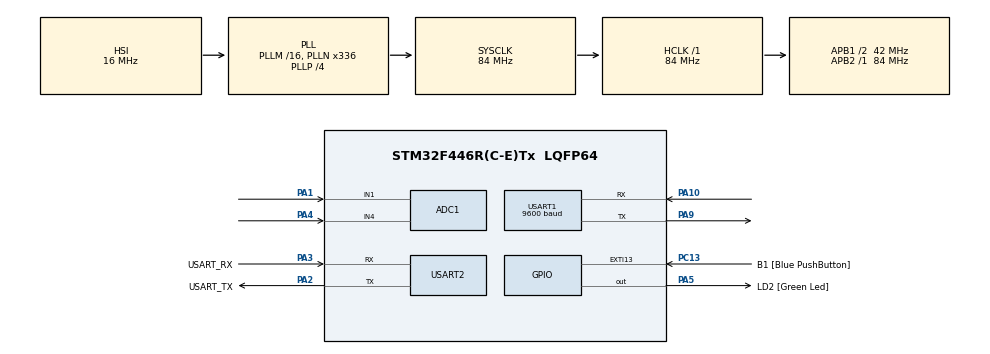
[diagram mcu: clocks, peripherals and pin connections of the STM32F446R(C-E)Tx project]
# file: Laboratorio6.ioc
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ADC1.Channel-0\#ChannelRegularConversion=ADC_CHANNEL_1
ADC1.NbrOfConversionFlag=1
ADC1.Rank-0\#ChannelRegularConversion=1
ADC1.SamplingTime-0\#ChannelRegularConversion=ADC_SAMPLETIME_3CYCLES
ADC1.master=1
Mcu.Family=STM32F4
Mcu.Name=STM32F446R(C-E)Tx
Mcu.Package=LQFP64
NVIC.PriorityGroup=NVIC_PRIORITYGROUP_0
NVIC.USART1_IRQn=true\:0\:0\:false\:false\:true\:true\:true\:true
PA1.Signal=ADCx_IN1
PA10.Mode=Asynchronous
PA10.Signal=USART1_RX
PA13.GPIO_Label=TMS
PA13.Signal=SYS_JTMS-SWDIO
PA14.GPIO_Label=TCK
PA14.Signal=SYS_JTCK-SWCLK
PA2.GPIO_Label=USART_TX
PA2.Mode=Asynchronous
PA2.Signal=USART2_TX
PA3.GPIO_Label=USART_RX
PA3.Mode=Asynchronous
PA3.Signal=USART2_RX
PA4.Signal=ADCx_IN4
PA5.GPIO_Label=LD2 [Green Led]
PA5.Signal=GPIO_Output
PA9.Mode=Asynchronous
PA9.Signal=USART1_TX
PB3.GPIO_Label=SWO
PB3.Signal=SYS_JTDO-SWO
PC13.GPIO_Label=B1 [Blue PushButton]
PC13.GPIO_ModeDefaultEXTI=GPIO_MODE_IT_FALLING
PC13.Signal=GPXTI13
PC14-OSC32_IN.Signal=RCC_OSC32_IN
PC15-OSC32_OUT.Signal=RCC_OSC32_OUT
PH0-OSC_IN.Signal=RCC_OSC_IN
PH1-OSC_OUT.Signal=RCC_OSC_OUT
ProjectManager.HeapSize=0x200
ProjectManager.StackSize=0x400
ProjectManager.TargetToolchain=STM32CubeIDE
RCC.AHBFreq_Value=84000000
RCC.APB1CLKDivider=RCC_HCLK_DIV2
RCC.APB1Freq_Value=42000000
RCC.APB1TimFreq_Value=84000000
RCC.APB2Freq_Value=84000000
RCC.APB2TimFreq_Value=84000000
RCC.CortexFreq_Value=84000000
RCC.FLatency-AdvancedSettings=FLASH_LATENCY_2
RCC.HCLKFreq_Value=84000000
RCC.HSE_VALUE=8000000
RCC.HSI_VALUE=16000000
RCC.LSE_VALUE=32768
RCC.PLLN=336
RCC.PLLP=RCC_PLLP_DIV4
RCC.SYSCLKFreq_VALUE=84000000
RCC.SYSCLKSource=RCC_SYSCLKSOURCE_PLLCLK
RCC.USBFreq_Value=168000000
RCC.VCOOutputFreq_Value=336000000
SH.ADCx_IN1.0=ADC1_IN1,IN1
SH.ADCx_IN4.0=ADC1_IN4,IN4
USART1.BaudRate=9600
USART1.VirtualMode=VM_ASYNC
USART2.VirtualMode=VM_ASYNC
board=NUCLEO-F446RE

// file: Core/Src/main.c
/* USER CODE BEGIN Header */
/**
  ******************************************************************************
  * @file           : main.c
  * @brief          : Main program body
  ******************************************************************************
  * @attention
  *
  * Copyright (c) 2026 STMicroelectronics.
  * All rights reserved.
  *
  * This software is licensed under terms that can be found in the LICENSE file
  * in the root directory of this software component.
  * If no LICENSE file comes with this software, it is provided AS-IS.
  *
  ******************************************************************************
  */
/* USER CODE END Header */
#include "main.h"
#include "adc.h"
#include "usart.h"
#include "gpio.h"

/* USER CODE BEGIN Includes */
#include <stdio.h>
#include <string.h>
/* USER CODE END Includes */

/* USER CODE BEGIN PD */
#define ADC_MITAD               2048U
#define RX_BUFFER_SIZE          32U
#define INTERVALO_JOYSTICK_MS   300U
/* USER CODE END PD */

/* USER CODE BEGIN PV */
/* Control 1: potenciómetros */
uint32_t valor_pot1 = 0;
uint32_t valor_pot2 = 0;

char mensaje_uart[80];

/* Control 2: recepción desde el ATmega328P */
volatile uint8_t rx_byte = 0;
volatile char rx_buffer[RX_BUFFER_SIZE];
volatile uint8_t rx_index = 0;
volatile uint8_t rx_linea_lista = 0;
/* USER CODE END PV */

void SystemClock_Config(void);
/* USER CODE BEGIN PFP */
static uint32_t Leer_ADC(uint32_t canal);
static void Procesar_Accion_Control2(const char *linea);
/* USER CODE END PFP */

/* USER CODE BEGIN 0 */
static uint32_t Leer_ADC(uint32_t canal)
{
    ADC_ChannelConfTypeDef configuracion = {0};
    uint32_t resultado = 0;

    configuracion.Channel = canal;
    configuracion.Rank = 1;
    configuracion.SamplingTime = ADC_SAMPLETIME_56CYCLES;

    if (HAL_ADC_ConfigChannel(
            &hadc1,
                       &configuracion
        ) != HAL_OK)
    {
        Error_Handler();
    }

    if (HAL_ADC_Start(&hadc1) != HAL_OK)
    {
        Error_Handler();
    }

    if (HAL_ADC_PollForConversion(
            &hadc1,
            50
        ) != HAL_OK)
    {
        HAL_ADC_Stop(&hadc1);
        Error_Handler();
    }

    resultado = HAL_ADC_GetValue(&hadc1);

    HAL_ADC_Stop(&hadc1);

    return resultado;
}
static void Procesar_Accion_Control2(const char *linea)
{
    const char *accion = NULL;
    char mensaje_control2[50];

    if (linea == NULL || linea[0] == '\0')
    {
        return;
    }

    switch (linea[0])
    {
        case 'U':
        case 'u':
            accion = "Arriba";
            break;

        case 'D':
        case 'd':
            accion = "Abajo";
            break;

        case 'R':
        case 'r':
            accion = "Derecha";
            break;

        case 'L':
        case 'l':
            accion = "Izquierda";
            break;

        case 'A':
        case 'a':
            accion = "Accion A";
            break;

        case 'B':
        case 'b':
            accion = "Accion B";
            break;

        default:
            accion = NULL;
            break;
    }

    if (accion != NULL)
    {
        int longitud = snprintf(
            mensaje_control2,
            sizeof(mensaje_control2),
            "Control 2 (ATmega): %s\r\n",
            accion
        );

        if (longitud > 0)
        {
            HAL_UART_Transmit(
                &huart2,
                (uint8_t *)mensaje_control2,
                (uint16_t)longitud,
                100
            );
        }
    }
}
/* USER CODE END 0 */

int main(void)
{

  /* MCU Configuration--------------------------------------------------------*/

  /* Reset of all peripherals, Initializes the Flash interface and the Systick. */
  HAL_Init();

  /* Configure the system clock */
  SystemClock_Config();

  /* Initialize all configured peripherals */
  MX_GPIO_Init();
  MX_ADC1_Init();
  MX_USART2_UART_Init();
  MX_USART1_UART_Init();
  /* USER CODE BEGIN 2 */
  const char mensaje_inicio[] =
      "\r\n"
      "========================================\r\n"
      "Consola de videojuegos iniciada\r\n"
      "Control 1: potenciometros por ADC1\r\n"
      "Control 2: ATmega328P por USART1\r\n"
      "Salida PC: USART2 a 115200 baudios\r\n"
      "========================================\r\n\r\n";

  HAL_UART_Transmit(
      &huart2,
      (uint8_t *)mensaje_inicio,
      (uint16_t)strlen(mensaje_inicio),
      100
  );

  if (HAL_UART_Receive_IT(
          &huart1,
          (uint8_t *)&rx_byte,
          1
      ) != HAL_OK)
  {
      const char error_rx[] =
          "ERROR iniciando recepcion USART1\r\n";

      HAL_UART_Transmit(
          &huart2,
          (uint8_t *)error_rx,
          (uint16_t)strlen(error_rx),
          100
      );

      Error_Handler();
  }

  uint32_t ultimo_envio_joystick = HAL_GetTick();
  /* USER CODE END 2 */

  /* Infinite loop */
  /* USER CODE BEGIN WHILE */
  while (1)
  {
	    uint32_t ahora = HAL_GetTick();

	    /*
	     * Control 1: leer los potenciómetros cada 300 ms.
	     */
	    if ((ahora - ultimo_envio_joystick)
	            >= INTERVALO_JOYSTICK_MS)
	    {
	        const char *estado_vertical;
	        const char *estado_horizontal;

	        ultimo_envio_joystick = ahora;

	        valor_pot1 =
	            Leer_ADC(ADC_CHANNEL_1);

	        valor_pot2 =
	            Leer_ADC(ADC_CHANNEL_4);

	        if (valor_pot1 >= ADC_MITAD)
	        {
	            estado_vertical = "Arriba";
	        }
	        else
	        {
	            estado_vertical = "Abajo";
	        }

	        if (valor_pot2 >= ADC_MITAD)
	        {
	            estado_horizontal = "Derecha";
	        }
	        else
	        {
	            estado_horizontal = "Izquierda";
	        }

	        int longitud = snprintf(
	            mensaje_uart,
	            sizeof(mensaje_uart),
	            "Control 1: %s / %s\r\n",
	            estado_vertical,
	            estado_horizontal
	        );

	        if (longitud > 0)
	        {
	            HAL_UART_Transmit(
	                &huart2,
	                (uint8_t *)mensaje_uart,
	                (uint16_t)longitud,
	                100
	            );
	        }
	    }

	    if (rx_linea_lista != 0)
	    {
	        Procesar_Accion_Control2(
	            (const char *)rx_buffer
	        );

	        rx_linea_lista = 0;
	        rx_index = 0;

	        HAL_UART_Receive_IT(
	            &huart1,
	            (uint8_t *)&rx_byte,
	            1
	        );
	    }

    /* USER CODE END WHILE */

  }
}

void SystemClock_Config(void)
{
  RCC_OscInitTypeDef RCC_OscInitStruct = {0};
  RCC_ClkInitTypeDef RCC_ClkInitStruct = {0};

  /** Configure the main internal regulator output voltage
  */
  __HAL_RCC_PWR_CLK_ENABLE();
  __HAL_PWR_VOLTAGESCALING_CONFIG(PWR_REGULATOR_VOLTAGE_SCALE3);

  /** Initializes the RCC Oscillators according to the specified parameters
  * in the RCC_OscInitTypeDef structure.
  */
  RCC_OscInitStruct.OscillatorType = RCC_OSCILLATORTYPE_HSI;
  RCC_OscInitStruct.HSIState = RCC_HSI_ON;
  RCC_OscInitStruct.HSICalibrationValue = RCC_HSICALIBRATION_DEFAULT;
  RCC_OscInitStruct.PLL.PLLState = RCC_PLL_ON;
  RCC_OscInitStruct.PLL.PLLSource = RCC_PLLSOURCE_HSI;
  RCC_OscInitStruct.PLL.PLLM = 16;
  RCC_OscInitStruct.PLL.PLLN = 336;
  RCC_OscInitStruct.PLL.PLLP = RCC_PLLP_DIV4;
  RCC_OscInitStruct.PLL.PLLQ = 2;
  RCC_OscInitStruct.PLL.PLLR = 2;
  if (HAL_RCC_OscConfig(&RCC_OscInitStruct) != HAL_OK)
  {
    Error_Handler();
  }

  /** Initializes the CPU, AHB and APB buses clocks
  */
  RCC_ClkInitStruct.ClockType = RCC_CLOCKTYPE_HCLK|RCC_CLOCKTYPE_SYSCLK
                              |RCC_CLOCKTYPE_PCLK1|RCC_CLOCKTYPE_PCLK2;
  RCC_ClkInitStruct.SYSCLKSource = RCC_SYSCLKSOURCE_PLLCLK;
  RCC_ClkInitStruct.AHBCLKDivider = RCC_SYSCLK_DIV1;
  RCC_ClkInitStruct.APB1CLKDivider = RCC_HCLK_DIV2;
  RCC_ClkInitStruct.APB2CLKDivider = RCC_HCLK_DIV1;

  if (HAL_RCC_ClockConfig(&RCC_ClkInitStruct, FLASH_LATENCY_2) != HAL_OK)
  {
    Error_Handler();
  }
}

/* USER CODE BEGIN 4 */
void HAL_UART_RxCpltCallback(
    UART_HandleTypeDef *huart
)
{
    if (huart->Instance == USART1)
    {
        if (rx_byte == '\n')
        {

            if (rx_index > 0)
            {
                rx_buffer[rx_index] = '\0';
                rx_linea_lista = 1;

                return;
            }
        }
        else if (rx_byte != '\r')
        {

            if (rx_index < (RX_BUFFER_SIZE - 1U))
            {
                rx_buffer[rx_index] =
                    (char)rx_byte;

                rx_index++;
            }
            else
            {

                rx_index = 0;
            }
        }

        HAL_UART_Receive_IT(
            &huart1,
            (uint8_t *)&rx_byte,
            1
        );
    }
}

void HAL_UART_ErrorCallback(
    UART_HandleTypeDef *huart
)
{
    if (huart->Instance == USART1)
    {
        rx_index = 0;
        rx_linea_lista = 0;

        HAL_UART_Receive_IT(
            &huart1,
            (uint8_t *)&rx_byte,
            1
        );
    }
}
/* USER CODE END 4 */

void Error_Handler(void)
{
  __disable_irq();
  while (1)
  {
  }
}
